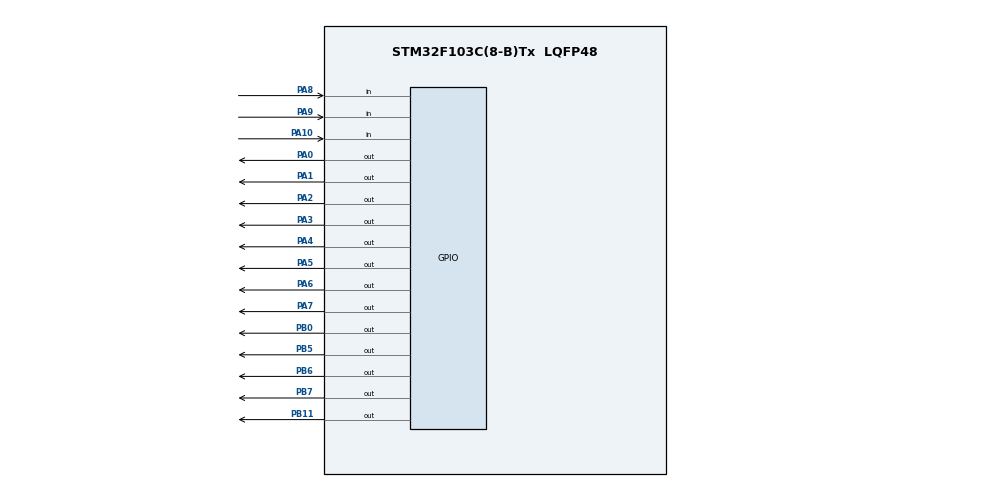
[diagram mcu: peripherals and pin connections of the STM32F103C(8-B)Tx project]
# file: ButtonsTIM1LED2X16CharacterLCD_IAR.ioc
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Mcu.Family=STM32F1
Mcu.Name=STM32F103C(8-B)Tx
Mcu.Package=LQFP48
NVIC.PriorityGroup=NVIC_PRIORITYGROUP_4
NVIC.TIM1_UP_IRQn=true\:0\:0\:false\:false\:true\:true\:true\:true
PA0-WKUP.Signal=GPIO_Output
PA1.Signal=GPIO_Output
PA10.GPIO_PuPd=GPIO_PULLDOWN
PA10.Signal=GPIO_Input
PA13.Mode=Serial_Wire
PA13.Signal=SYS_JTMS-SWDIO
PA14.Mode=Serial_Wire
PA14.Signal=SYS_JTCK-SWCLK
PA2.Signal=GPIO_Output
PA3.Signal=GPIO_Output
PA4.Signal=GPIO_Output
PA5.Signal=GPIO_Output
PA6.Signal=GPIO_Output
PA7.Signal=GPIO_Output
PA8.GPIO_PuPd=GPIO_PULLDOWN
PA8.Signal=GPIO_Input
PA9.GPIO_PuPd=GPIO_PULLDOWN
PA9.Signal=GPIO_Input
PB0.Signal=GPIO_Output
PB11.Signal=GPIO_Output
PB5.Signal=GPIO_Output
PB6.Signal=GPIO_Output
PB7.Signal=GPIO_Output
PD0-OSC_IN.Mode=HSE-External-Oscillator
PD0-OSC_IN.Signal=RCC_OSC_IN
PD1-OSC_OUT.Mode=HSE-External-Oscillator
PD1-OSC_OUT.Signal=RCC_OSC_OUT
ProjectManager.HeapSize=0x200
ProjectManager.StackSize=0x400
ProjectManager.TargetToolchain=EWARM V8.32
RCC.APB1Freq_Value=8000000
RCC.APB2Freq_Value=8000000
RCC.SYSCLKSource=RCC_SYSCLKSOURCE_HSE
TIM1.Period=999
TIM1.Prescaler=7
VP_TIM1_VS_ClockSourceINT.Mode=Internal
board=custom

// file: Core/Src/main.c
/* USER CODE BEGIN Header */
/**
  ******************************************************************************
  * @file           : main.c
  * @brief          : Main program body
  ******************************************************************************
  * @attention
  *
  * Copyright (c) 2023 STMicroelectronics.
  * All rights reserved.
  *
  * This software is licensed under terms that can be found in the LICENSE file
  * in the root directory of this software component.
  * If no LICENSE file comes with this software, it is provided AS-IS.
  *
  ******************************************************************************
  */
/* USER CODE END Header */
#include "main.h"

/* USER CODE BEGIN Includes */

#include "LCD/lcd.h"
#include <stdio.h>

/* USER CODE END Includes */

TIM_HandleTypeDef htim1;

/* USER CODE BEGIN PV */

int t_led, t_lcd;

/* USER CODE END PV */

void SystemClock_Config(void);
static void MX_GPIO_Init(void);
static void MX_TIM1_Init(void);

int main(void)
{

  /* MCU Configuration--------------------------------------------------------*/

  /* Reset of all peripherals, Initializes the Flash interface and the Systick. */
  HAL_Init();

  /* Configure the system clock */
  SystemClock_Config();

  /* Initialize all configured peripherals */
  MX_GPIO_Init();
  MX_TIM1_Init();
  /* USER CODE BEGIN 2 */

  lcd_init();
  lcd_clear();

  HAL_TIM_Base_Start_IT(&htim1);

  /* USER CODE END 2 */

  /* Infinite loop */
  /* USER CODE BEGIN WHILE */
  while (1)
  {
    lcd_gotoxy(0,0);
    lcd_puts("  dibadigital  ");

    if(t_led > 99)
    {
      t_led = 0;
      HAL_GPIO_TogglePin(GPIOB, GPIO_PIN_11);
    }
    if(t_lcd > 4999)
    {
      t_lcd = 0;
      HAL_GPIO_WritePin(GPIOB, GPIO_PIN_0, GPIO_PIN_RESET);
    }

    if(HAL_GPIO_ReadPin(GPIOA, GPIO_PIN_8) == 1)
    {
      t_lcd = 0;
      HAL_GPIO_WritePin(GPIOB, GPIO_PIN_0, GPIO_PIN_SET);
      //Key1: Code 1
    }
    if(HAL_GPIO_ReadPin(GPIOA, GPIO_PIN_9) == 1)
    {
      t_lcd = 0;
      HAL_GPIO_WritePin(GPIOB, GPIO_PIN_0, GPIO_PIN_SET);
      //Key2: Code 2
    }
    if(HAL_GPIO_ReadPin(GPIOA, GPIO_PIN_10) == 1)
    {
      t_lcd = 0;
      HAL_GPIO_WritePin(GPIOB, GPIO_PIN_0, GPIO_PIN_SET);
      //Key3: Code 3
    }

    /* USER CODE END WHILE */

  }
}

void SystemClock_Config(void)
{
  RCC_OscInitTypeDef RCC_OscInitStruct = {0};
  RCC_ClkInitTypeDef RCC_ClkInitStruct = {0};

  /** Initializes the RCC Oscillators according to the specified parameters
  * in the RCC_OscInitTypeDef structure.
  */
  RCC_OscInitStruct.OscillatorType = RCC_OSCILLATORTYPE_HSE;
  RCC_OscInitStruct.HSEState = RCC_HSE_ON;
  RCC_OscInitStruct.PLL.PLLState = RCC_PLL_NONE;
  if (HAL_RCC_OscConfig(&RCC_OscInitStruct) != HAL_OK)
  {
    Error_Handler();
  }

  /** Initializes the CPU, AHB and APB buses clocks
  */
  RCC_ClkInitStruct.ClockType = RCC_CLOCKTYPE_HCLK|RCC_CLOCKTYPE_SYSCLK
                              |RCC_CLOCKTYPE_PCLK1|RCC_CLOCKTYPE_PCLK2;
  RCC_ClkInitStruct.SYSCLKSource = RCC_SYSCLKSOURCE_HSE;
  RCC_ClkInitStruct.AHBCLKDivider = RCC_SYSCLK_DIV1;
  RCC_ClkInitStruct.APB1CLKDivider = RCC_HCLK_DIV1;
  RCC_ClkInitStruct.APB2CLKDivider = RCC_HCLK_DIV1;

  if (HAL_RCC_ClockConfig(&RCC_ClkInitStruct, FLASH_LATENCY_0) != HAL_OK)
  {
    Error_Handler();
  }
}

static void MX_TIM1_Init(void)
{

  TIM_ClockConfigTypeDef sClockSourceConfig = {0};
  TIM_MasterConfigTypeDef sMasterConfig = {0};

  htim1.Instance = TIM1;
  htim1.Init.Prescaler = 7;
  htim1.Init.CounterMode = TIM_COUNTERMODE_UP;
  htim1.Init.Period = 999;
  htim1.Init.ClockDivision = TIM_CLOCKDIVISION_DIV1;
  htim1.Init.RepetitionCounter = 0;
  htim1.Init.AutoReloadPreload = TIM_AUTORELOAD_PRELOAD_DISABLE;
  if (HAL_TIM_Base_Init(&htim1) != HAL_OK)
  {
    Error_Handler();
  }
  sClockSourceConfig.ClockSource = TIM_CLOCKSOURCE_INTERNAL;
  if (HAL_TIM_ConfigClockSource(&htim1, &sClockSourceConfig) != HAL_OK)
  {
    Error_Handler();
  }
  sMasterConfig.MasterOutputTrigger = TIM_TRGO_RESET;
  sMasterConfig.MasterSlaveMode = TIM_MASTERSLAVEMODE_DISABLE;
  if (HAL_TIMEx_MasterConfigSynchronization(&htim1, &sMasterConfig) != HAL_OK)
  {
    Error_Handler();
  }

}

static void MX_GPIO_Init(void)
{
  GPIO_InitTypeDef GPIO_InitStruct = {0};

  /* GPIO Ports Clock Enable */
  __HAL_RCC_GPIOD_CLK_ENABLE();
  __HAL_RCC_GPIOA_CLK_ENABLE();
  __HAL_RCC_GPIOB_CLK_ENABLE();

  /*Configure GPIO pin Output Level */
  HAL_GPIO_WritePin(GPIOA, GPIO_PIN_0|GPIO_PIN_1|GPIO_PIN_2|GPIO_PIN_3
                          |GPIO_PIN_4|GPIO_PIN_5|GPIO_PIN_6|GPIO_PIN_7, GPIO_PIN_RESET);

  /*Configure GPIO pin Output Level */
  HAL_GPIO_WritePin(GPIOB, GPIO_PIN_0|GPIO_PIN_11|GPIO_PIN_5|GPIO_PIN_6
                          |GPIO_PIN_7, GPIO_PIN_RESET);

  /*Configure GPIO pins : PA0 PA1 PA2 PA3
                           PA4 PA5 PA6 PA7 */
  GPIO_InitStruct.Pin = GPIO_PIN_0|GPIO_PIN_1|GPIO_PIN_2|GPIO_PIN_3
                          |GPIO_PIN_4|GPIO_PIN_5|GPIO_PIN_6|GPIO_PIN_7;
  GPIO_InitStruct.Mode = GPIO_MODE_OUTPUT_PP;
  GPIO_InitStruct.Pull = GPIO_NOPULL;
  GPIO_InitStruct.Speed = GPIO_SPEED_FREQ_LOW;
  HAL_GPIO_Init(GPIOA, &GPIO_InitStruct);

  /*Configure GPIO pins : PB0 PB11 PB5 PB6
                           PB7 */
  GPIO_InitStruct.Pin = GPIO_PIN_0|GPIO_PIN_11|GPIO_PIN_5|GPIO_PIN_6
                          |GPIO_PIN_7;
  GPIO_InitStruct.Mode = GPIO_MODE_OUTPUT_PP;
  GPIO_InitStruct.Pull = GPIO_NOPULL;
  GPIO_InitStruct.Speed = GPIO_SPEED_FREQ_LOW;
  HAL_GPIO_Init(GPIOB, &GPIO_InitStruct);

  /*Configure GPIO pins : PA8 PA9 PA10 */
  GPIO_InitStruct.Pin = GPIO_PIN_8|GPIO_PIN_9|GPIO_PIN_10;
  GPIO_InitStruct.Mode = GPIO_MODE_INPUT;
  GPIO_InitStruct.Pull = GPIO_PULLDOWN;
  HAL_GPIO_Init(GPIOA, &GPIO_InitStruct);

}

void Error_Handler(void)
{
  __disable_irq();
  while (1)
  {
  }
}
